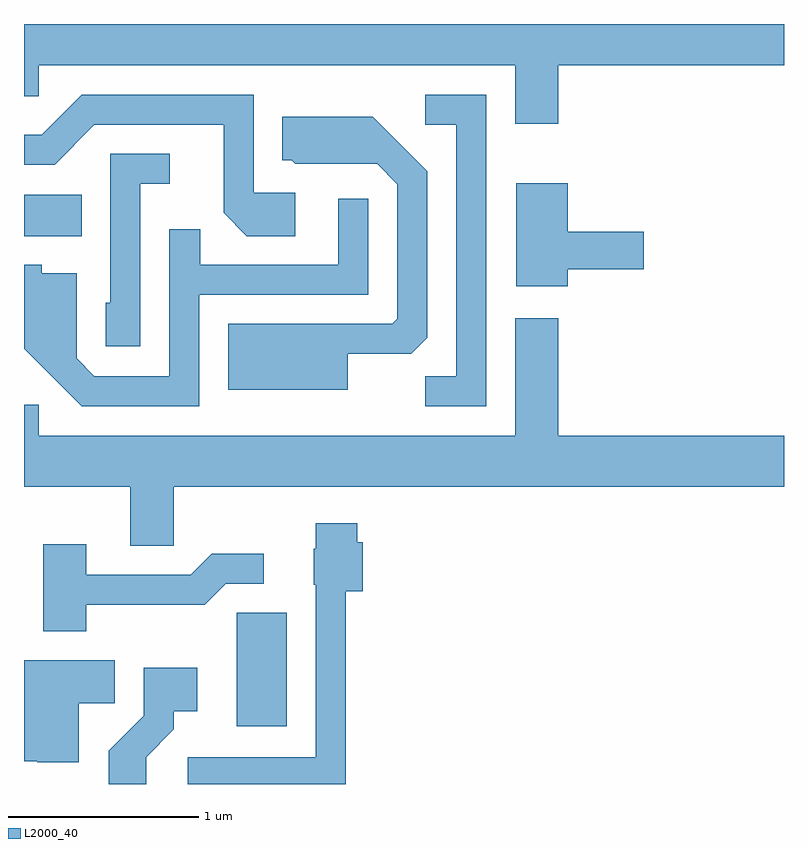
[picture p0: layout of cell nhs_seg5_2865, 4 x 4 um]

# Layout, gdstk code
import gdstk
lib = gdstk.Library(unit=1e-6, precision=1e-09)
def R(c, l, rs):  # rectangles x0, y0, x1, y1
    for r in rs: c.add(gdstk.rectangle(r[:2], r[2:], *l))
def P(c, l, *ps):  # polygons
    for p in ps: c.add(gdstk.Polygon(p, *l))
L2000_40 = (2000, 40)

nhs_seg5_2865 = lib.new_cell('nhs_seg5_2865')
R(nhs_seg5_2865, L2000_40, [(270.731,1504.376,270.994,1504.974), (269.611,1506.956,269.914,1507.174)])
P(nhs_seg5_2865, L2000_40, [(272.424,1507.856),(273.611,1507.856),(273.611,1508.072),(269.611,1508.072),(269.611,1507.691),(269.689,1507.691),(269.689,1507.856),(272.196,1507.856),(272.196,1507.546),(272.424,1507.546)],
  [(272.044,1507.699),(271.723,1507.699),(271.723,1507.541),(271.886,1507.541),(271.886,1506.219),(271.723,1506.219),(271.723,1506.061),(272.044,1506.061)],
  [(271.039,1507.184),(270.819,1507.184),(270.819,1507.699),(269.914,1507.699),(269.704,1507.489),(269.611,1507.489),(269.611,1507.331),(269.772,1507.331),(269.982,1507.541),(270.661,1507.541),(270.661,1507.079),(270.784,1506.956),(271.039,1506.956)],
  [(271.314,1506.336),(271.649,1506.336),(271.734,1506.422),(271.734,1507.297),(271.447,1507.584),(270.971,1507.584),(270.971,1507.356),(271.019,1507.356),(271.039,1507.336),(271.469,1507.336),(271.576,1507.229),(271.576,1506.522),(271.549,1506.494),(270.686,1506.494),(270.686,1506.146),(271.314,1506.146)],
  [(270.224,1507.231),(270.378,1507.231),(270.378,1507.389),(270.066,1507.389),(270.066,1506.604),(270.041,1506.604),(270.041,1506.376),(270.224,1506.376)],
  [(272.474,1506.781),(272.874,1506.781),(272.874,1506.979),(272.474,1506.979),(272.474,1507.234),(272.201,1507.234),(272.201,1506.691),(272.474,1506.691)],
  [(270.534,1506.646),(271.424,1506.646),(271.424,1507.153),(271.266,1507.153),(271.266,1506.804),(270.539,1506.804),(270.539,1506.993),(270.376,1506.993),(270.376,1506.219),(269.982,1506.219),(269.889,1506.312),(269.889,1506.759),(269.704,1506.759),(269.704,1506.804),(269.611,1506.804),(269.611,1506.364),(269.914,1506.061),(270.534,1506.061)],
  [(270.399,1505.636),(273.611,1505.636),(273.611,1505.904),(272.424,1505.904),(272.424,1506.524),(272.196,1506.524),(272.196,1505.904),(269.689,1505.904),(269.689,1506.069),(269.611,1506.069),(269.611,1505.636),(270.171,1505.636),(270.171,1505.326),(270.399,1505.326)],
  [(271.304,1505.086),(271.394,1505.086),(271.394,1505.344),(271.364,1505.344),(271.364,1505.444),(271.146,1505.444),(271.146,1505.31),(271.136,1505.31),(271.136,1505.12),(271.146,1505.12),(271.146,1504.214),(270.473,1504.214),(270.473,1504.072),(271.304,1504.072)],
  [(269.939,1505.016),(270.562,1505.016),(270.672,1505.126),(270.873,1505.126),(270.873,1505.284),(270.599,1505.284),(270.489,1505.174),(269.939,1505.174),(269.939,1505.334),(269.711,1505.334),(269.711,1504.876),(269.939,1504.876)],
  [(269.899,1504.496),(270.089,1504.496),(270.089,1504.724),(269.611,1504.724),(269.611,1504.191),(269.68,1504.191),(269.68,1504.186),(269.899,1504.186)],
  [(270.254,1504.214),(270.399,1504.359),(270.399,1504.456),(270.524,1504.456),(270.524,1504.684),(270.241,1504.684),(270.241,1504.432),(270.056,1504.247),(270.056,1504.072),(270.254,1504.072)])

lib.write_gds('nhs_seg5_2865.gds')
